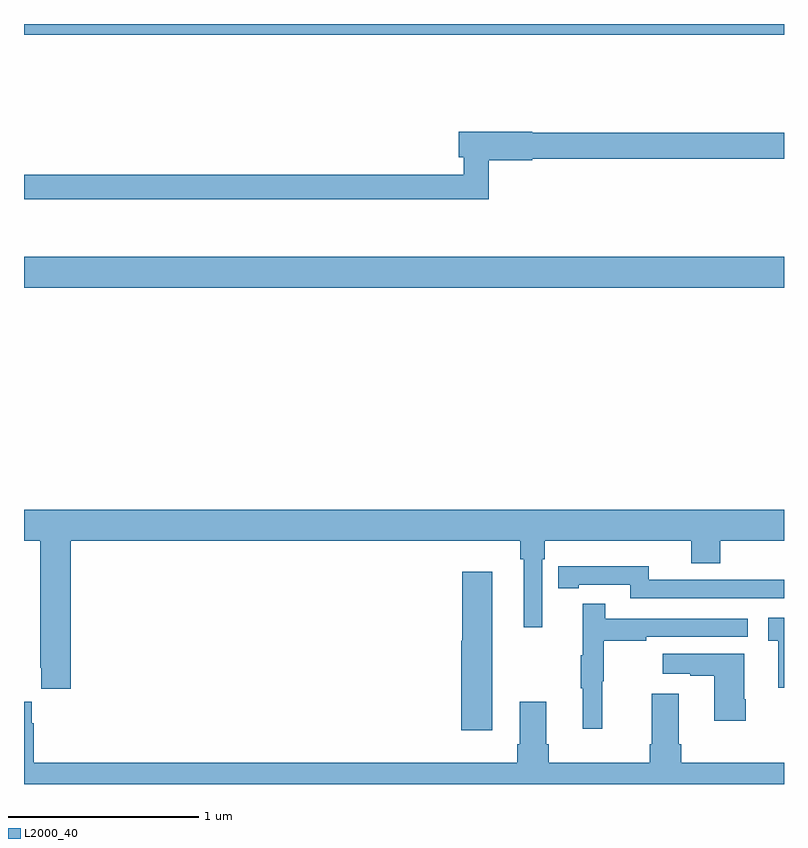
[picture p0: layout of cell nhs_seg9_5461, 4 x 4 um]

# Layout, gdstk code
import gdstk
lib = gdstk.Library(unit=1e-6, precision=1e-09)
def R(c, l, rs):  # rectangles x0, y0, x1, y1
    for r in rs: c.add(gdstk.rectangle(r[:2], r[2:], *l))
def P(c, l, *ps):  # polygons
    for p in ps: c.add(gdstk.Polygon(p, *l))
L2000_40 = (2000, 40)

nhs_seg9_5461 = lib.new_cell('nhs_seg9_5461')
R(nhs_seg9_5461, L2000_40, [(429,1171.112,433,1171.276), (429,1172.444,433,1172.5)])
P(nhs_seg9_5461, L2000_40, [(431.447,1171.784),(431.676,1171.784),(431.676,1171.792),(433,1171.792),(433,1171.928),(431.676,1171.928),(431.676,1171.934),(431.288,1171.934),(431.288,1171.799),(431.315,1171.799),(431.315,1171.706),(429,1171.706),(429,1171.578),(431.447,1171.578)],
  [(429.245,1169.78),(431.611,1169.78),(431.611,1169.684),(431.63,1169.684),(431.63,1169.325),(431.727,1169.325),(431.727,1169.684),(431.741,1169.684),(431.741,1169.78),(432.512,1169.78),(432.512,1169.663),(432.665,1169.663),(432.665,1169.78),(433,1169.78),(433,1169.944),(429,1169.944),(429,1169.78),(429.085,1169.78),(429.085,1169.113),(429.091,1169.113),(429.091,1169.001),(429.245,1169.001)],
  [(433,1169.576),(432.748,1169.576),(432.748,1169.574),(432.288,1169.574),(432.288,1169.647),(431.92,1169.647),(431.92,1169.646),(431.812,1169.646),(431.812,1169.53),(431.92,1169.53),(431.92,1169.55),(432.192,1169.55),(432.192,1169.478),(433,1169.478)],
  [(431.464,1169.617),(431.306,1169.617),(431.306,1169.253),(431.3,1169.253),(431.3,1168.782),(431.464,1168.782)],
  [(432.044,1169.04),(432.052,1169.04),(432.052,1169.254),(432.275,1169.254),(432.275,1169.274),(432.808,1169.274),(432.808,1169.37),(432.059,1169.37),(432.059,1169.449),(431.942,1169.449),(431.942,1169.177),(431.931,1169.177),(431.931,1169.003),(431.942,1169.003),(431.942,1168.791),(432.044,1168.791)],
  [(433,1169.374),(432.918,1169.374),(432.918,1169.253),(432.971,1169.253),(432.971,1169.007),(433,1169.007)],
  [(432.798,1168.945),(432.79,1168.945),(432.79,1169.185),(432.363,1169.185),(432.363,1169.081),(432.506,1169.081),(432.506,1169.071),(432.632,1169.071),(432.632,1168.833),(432.798,1168.833)],
  [(433,1168.612),(432.458,1168.612),(432.458,1168.708),(432.445,1168.708),(432.445,1168.975),(432.305,1168.975),(432.305,1168.708),(432.293,1168.708),(432.293,1168.612),(431.762,1168.612),(431.762,1168.708),(431.749,1168.708),(431.749,1168.933),(431.609,1168.933),(431.609,1168.708),(431.597,1168.708),(431.597,1168.612),(429.05,1168.612),(429.05,1168.82),(429.04,1168.82),(429.04,1168.933),(429,1168.933),(429,1168.5),(433,1168.5)])

lib.write_gds('nhs_seg9_5461.gds')
